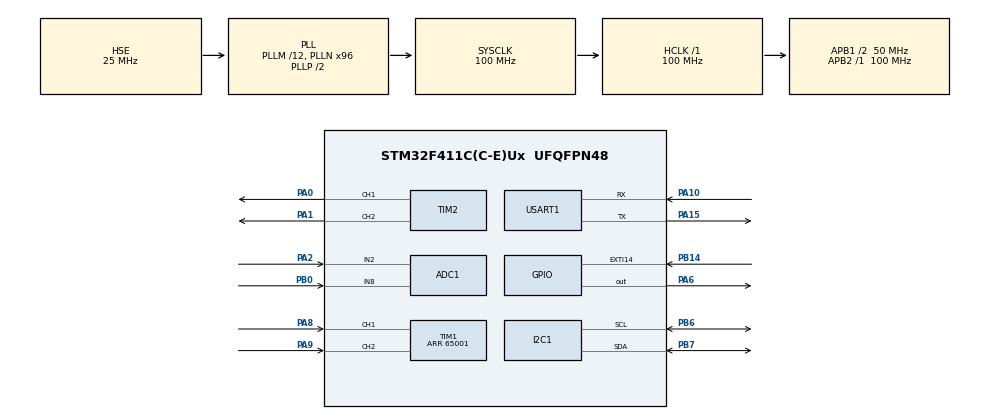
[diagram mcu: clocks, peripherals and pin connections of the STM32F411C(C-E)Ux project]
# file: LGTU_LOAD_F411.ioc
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ADC1.Channel-0\#ChannelRegularConversion=ADC_CHANNEL_2
ADC1.NbrOfConversionFlag=1
ADC1.Rank-0\#ChannelRegularConversion=1
ADC1.SamplingTime-0\#ChannelRegularConversion=ADC_SAMPLETIME_3CYCLES
ADC1.master=1
Mcu.Family=STM32F4
Mcu.Name=STM32F411C(C-E)Ux
Mcu.Package=UFQFPN48
NVIC.EXTI15_10_IRQn=true\:0\:0\:false\:false\:true\:true\:true\:true
NVIC.PriorityGroup=NVIC_PRIORITYGROUP_4
NVIC.TIM1_CC_IRQn=true\:0\:0\:false\:false\:true\:true\:true\:true
PA0-WKUP.Signal=S_TIM2_CH1_ETR
PA1.Signal=S_TIM2_CH2
PA10.Mode=Asynchronous
PA10.Signal=USART1_RX
PA13.Mode=Serial_Wire
PA13.Signal=SYS_JTMS-SWDIO
PA14.Mode=Serial_Wire
PA14.Signal=SYS_JTCK-SWCLK
PA15.Mode=Asynchronous
PA15.Signal=USART1_TX
PA2.Signal=ADCx_IN2
PA6.Signal=GPIO_Output
PA8.GPIO_PuPd=GPIO_PULLDOWN
PA8.Signal=S_TIM1_CH1
PA9.GPIO_PuPd=GPIO_PULLDOWN
PA9.Signal=S_TIM1_CH2
PB0.Signal=ADCx_IN8
PB14.GPIO_ModeDefaultEXTI=GPIO_MODE_IT_FALLING
PB14.GPIO_PuPd=GPIO_PULLUP
PB14.Signal=GPXTI14
PB6.Mode=I2C
PB6.Signal=I2C1_SCL
PB7.Mode=I2C
PB7.Signal=I2C1_SDA
PH0\ -\ OSC_IN.Mode=HSE-External-Oscillator
PH0\ -\ OSC_IN.Signal=RCC_OSC_IN
PH1\ -\ OSC_OUT.Mode=HSE-External-Oscillator
PH1\ -\ OSC_OUT.Signal=RCC_OSC_OUT
ProjectManager.HeapSize=0x200
ProjectManager.StackSize=0x400
ProjectManager.TargetToolchain=STM32CubeIDE
RCC.48MHZClocksFreq_Value=50000000
RCC.AHBFreq_Value=100000000
RCC.APB1CLKDivider=RCC_HCLK_DIV2
RCC.APB1Freq_Value=50000000
RCC.APB1TimFreq_Value=100000000
RCC.APB2Freq_Value=100000000
RCC.APB2TimFreq_Value=100000000
RCC.CortexFreq_Value=100000000
RCC.HCLKFreq_Value=100000000
RCC.HSE_VALUE=25000000
RCC.HSI_VALUE=16000000
RCC.LSE_VALUE=32768
RCC.PLLM=12
RCC.PLLN=96
RCC.PLLSourceVirtual=RCC_PLLSOURCE_HSE
RCC.SYSCLKFreq_VALUE=100000000
RCC.SYSCLKSource=RCC_SYSCLKSOURCE_PLLCLK
RCC.VCOOutputFreq_Value=200000000
SH.ADCx_IN2.0=ADC1_IN2,IN2
SH.ADCx_IN8.0=ADC1_IN8,IN8
SH.S_TIM1_CH1.0=TIM1_CH1,Encoder_Interface
SH.S_TIM1_CH2.0=TIM1_CH2,Encoder_Interface
SH.S_TIM2_CH1_ETR.0=TIM2_CH1,PWM Generation1 CH1
SH.S_TIM2_CH2.0=TIM2_CH2,PWM Generation2 CH2
STMicroelectronics.X-CUBE-ALGOBUILD.1.4.0.LibraryCcDSPOoLibraryJjDSPOoLibrary=true
TIM1.IC1Filter=15
TIM1.IC2Filter=15
TIM1.Period=65001
TIM2.Channel-PWM\ Generation1\ CH1=TIM_CHANNEL_1
TIM2.Channel-PWM\ Generation2\ CH2=TIM_CHANNEL_2
USART1.VirtualMode=VM_ASYNC
VP_STMicroelectronics.X-CUBE-ALGOBUILD_VS_DSPOoLibraryJjLibrary_1.4.0_1.4.0.Mode=DSPOoLibraryJjLibrary
board=custom

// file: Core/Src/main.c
/* USER CODE BEGIN Header */
/**
 ******************************************************************************
 * @file           : main.c
 * @brief          : Main program body
 ******************************************************************************
 * @attention
 *
 * Copyright (c) 2025 STMicroelectronics.
 * All rights reserved.
 *
 * This software is licensed under terms that can be found in the LICENSE file
 * in the root directory of this software component.
 * If no LICENSE file comes with this software, it is provided AS-IS.
 *
 ******************************************************************************
 */
/* USER CODE END Header */
#include "main.h"
#include "adc.h"
#include "i2c.h"
#include "tim.h"
#include "usart.h"
#include "gpio.h"

/* USER CODE BEGIN Includes */
#include "arm_math.h"
#include "ssd1306.h"
#include "encoder.h"
/* USER CODE END Includes */

/* USER CODE BEGIN PV */
char string[4] = { 0, };
/* USER CODE END PV */

void SystemClock_Config(void);

int main(void) {

	/* MCU Configuration--------------------------------------------------------*/

	/* Reset of all peripherals, Initializes the Flash interface and the Systick. */
	HAL_Init();

	/* Configure the system clock */
	SystemClock_Config();

	/* Initialize all configured peripherals */
	MX_GPIO_Init();
	MX_I2C1_Init();
	MX_ADC1_Init();
	MX_TIM1_Init();
	MX_TIM2_Init();
	MX_USART1_UART_Init();
	/* USER CODE BEGIN 2 */
	HAL_TIM_Encoder_Start_IT(&htim1, TIM_CHANNEL_ALL); // Запускаем энкодер в режиме прерывания и запускаем каналы таймера 1
	//запуск экрана:
	ssd1306_Init();
	start_screen(mode_item); // рисуем стартовый экран
	/* USER CODE END 2 */

	/* Infinite loop */
	/* USER CODE BEGIN WHILE */
	while (1) {

		if (button_flag) {
			Button_click_process(); // Если поднялся флажок прерывания кнопки энкодера, выполняем функцию
		}
		change_screen(long_press); // Опрашиваем смену экрана по длительному нажатию кнопки энкодера
		draw_blinking_underline(menu_item, mode_item); // Отрисовка подчеркиваний и моргание при выборе пункта
		/* USER CODE END WHILE */

	}
}

void SystemClock_Config(void) {
	RCC_OscInitTypeDef RCC_OscInitStruct = { 0 };
	RCC_ClkInitTypeDef RCC_ClkInitStruct = { 0 };

	/** Configure the main internal regulator output voltage
	 */
	__HAL_RCC_PWR_CLK_ENABLE();
	__HAL_PWR_VOLTAGESCALING_CONFIG(PWR_REGULATOR_VOLTAGE_SCALE1);

	/** Initializes the RCC Oscillators according to the specified parameters
	 * in the RCC_OscInitTypeDef structure.
	 */
	RCC_OscInitStruct.OscillatorType = RCC_OSCILLATORTYPE_HSE;
	RCC_OscInitStruct.HSEState = RCC_HSE_ON;
	RCC_OscInitStruct.PLL.PLLState = RCC_PLL_ON;
	RCC_OscInitStruct.PLL.PLLSource = RCC_PLLSOURCE_HSE;
	RCC_OscInitStruct.PLL.PLLM = 12;
	RCC_OscInitStruct.PLL.PLLN = 96;
	RCC_OscInitStruct.PLL.PLLP = RCC_PLLP_DIV2;
	RCC_OscInitStruct.PLL.PLLQ = 4;
	if (HAL_RCC_OscConfig(&RCC_OscInitStruct) != HAL_OK) {
		Error_Handler();
	}

	/** Initializes the CPU, AHB and APB buses clocks
	 */
	RCC_ClkInitStruct.ClockType = RCC_CLOCKTYPE_HCLK | RCC_CLOCKTYPE_SYSCLK
			| RCC_CLOCKTYPE_PCLK1 | RCC_CLOCKTYPE_PCLK2;
	RCC_ClkInitStruct.SYSCLKSource = RCC_SYSCLKSOURCE_PLLCLK;
	RCC_ClkInitStruct.AHBCLKDivider = RCC_SYSCLK_DIV1;
	RCC_ClkInitStruct.APB1CLKDivider = RCC_HCLK_DIV2;
	RCC_ClkInitStruct.APB2CLKDivider = RCC_HCLK_DIV1;

	if (HAL_RCC_ClockConfig(&RCC_ClkInitStruct, FLASH_LATENCY_3) != HAL_OK) {
		Error_Handler();
	}
}

/* USER CODE BEGIN 4 */
// Функция обработки прерывания от кнопки энкодера
void HAL_GPIO_EXTI_Callback(uint16_t GPIO_Pin) {
	if (GPIO_Pin == GPIO_PIN_14) { // Проверяем что прерывание от GPIO_PIN_14
		button_flag = 1; // Устанавливаем флажок, что пришло прерывание от кнопки энкодера
	}
}

// Функция для обработки прерывания энкодера
void HAL_TIM_IC_CaptureCallback(TIM_HandleTypeDef *htim) {
	static uint16_t prev_counter_encoder = 0; // Переменная для хранения предыдущего значения counter_encoder
	static uint8_t prev_type_item = 1U; // Статическая переменная для отслеживания изменения type_item
	static uint8_t prev_mode_item = 1U; // Статическая переменная для отслеживания изменения mode_item

	if (htim->Instance == TIM1) { // Проверяем, что прерывание пришло от таймера 1
		int16_t encoder_diff = 0; // Переменная которая хранит разницу текущего и предыдущего значения

		if (long_press == 0) {
			encoder_diff = TIM1->CNT - prev_counter_encoder; // Вычисляем разницу между текущим и предыдущим значением счетчика
			counter_encoder = TIM1->CNT; // текущее значение счетчика

		}

		if (short_press == 0 && long_press == 0) {
			switch (mode_item) {
			case 1: // Режим "Нагрузки"
				menu_item = (counter_encoder >> 1) % 3U + 1U; // Вычисляем выбранный пункт меню (1-3) в режиме нагрузки
				break;
			case 2: // Режим "Зарядка"
				menu_item = (counter_encoder >> 1) % 4U + 1U; // Вычисляем выбранный пункт меню (1-4) в режиме разрядки
				break;
			}
		}

		if (short_press == 1 && long_press == 0 && mode_item == 2) { // Смена режима работы и типа аккумулятора в режиме разрядки
			switch (menu_item) {
			case 1:
				mode_item = (counter_encoder >> 1) % 2U + 1U; // Вычисляем выбранный режим работы (1-2)
				start_screen(mode_item);
				upd_mode(mode_item);
				break;
			case 2:
				type_item = (counter_encoder >> 1) % 4U + 1U; // Вычисляем тип аккумулятора (1-4)
				upd_type(type_item);
				break;
			}

			if (mode_item != prev_mode_item) { // Обнулениие значений тока и напряжения при изменении режима работы
				type_item = 1;
				voltage_value = 0.0f;
				current_value = 0.0f;
				power_value = 0.0f;
				start_screen(mode_item);
				prev_mode_item = mode_item; // Сохраняем текущее значение для следующего вызова
			}

			if (type_item != prev_type_item) { // Сбрасываем значения напряжения и тока при изменении типа аккумулятора
				switch (type_item) {
				case 1: // Ручная настройка аккумулятора
					voltage_value = 0.0f; // Минимальное напряжение для ручной настройки
					current_value = 0.0f; // Минимальный ток
					break;
				case 2: // Аккумулятор Li-Ion
					voltage_value = 3.5f; // Минимальное напряжение для Li-Ion
					current_value = 1.0f; // Максимальный ток
					break;
				case 3: // Аккумулятор PbCar
					voltage_value = 12.0f; // Минимальное напряжение для PbCar
					current_value = 3.0f; // Максимальный ток
					break;
				case 4: // Аккумулятор Li-Po
					voltage_value = 3.7f; // Минимальное напряжение для Li-Po
					current_value = 1.0f; // Максимальный ток
					break;
				}
				prev_type_item = type_item; // Сохраняем текущее значение для следующего вызова
				upd_chisl(voltage_value, 5); // Обновляем экран с новым значением напряжения
				upd_chisl(current_value, 4); // Обновляем экран с новым значением тока
			}

			if (type_item == 1) { // Ручная настройка аккумулятора
				switch (menu_item) {
				case 3:
					voltage_value += 0.05f * encoder_diff; // Диапазон напряжения
					voltage_value = (voltage_value > 15.0f) ? 15.0f : voltage_value;
					voltage_value = (voltage_value < 0.0f) ? 0 : voltage_value;
					upd_chisl(voltage_value, 5);
					break;
				case 4:
					current_value += 0.025f * encoder_diff; // Диапазон тока
					current_value = (current_value > 5.0f) ? 5.f : current_value;
					current_value = (current_value < 0.0f) ? 0 : current_value;
					upd_chisl(current_value, 4);
					break;
				}
			}

			if (type_item == 2) { // Аккумулятор Li-Ion
				switch (menu_item) {
				case 3:
					voltage_value += 0.05f * encoder_diff; // Диапазон напряжения
					voltage_value = (voltage_value > 4.2f) ? 4.2f : voltage_value;
					voltage_value = (voltage_value < 3.5f) ? 3.5f : voltage_value;
					upd_chisl(voltage_value, 5);
					break;
				case 4:
					current_value += 0.025f * (encoder_diff >> 1); // Диапазон тока
					current_value = (current_value > 1.0f) ? 1.f : current_value;
					current_value = (current_value < 0.0f) ? 0 : current_value;
					upd_chisl(current_value, 4);
					break;
				}
			}

			if (type_item == 3) { // Аккумулятор PbCar
				switch (menu_item) {
				case 3:
					voltage_value += 0.05f * encoder_diff; // Диапазон напряжения
					voltage_value = (voltage_value > 14.5f) ? 14.5f : voltage_value;
					voltage_value = (voltage_value < 12.0f) ? 12.0f : voltage_value;
					upd_chisl(voltage_value, 5);
					break;
				case 4:
					current_value += 0.025f * encoder_diff; // Диапазон тока
					current_value = (current_value > 3.0f) ? 3.f : current_value;
					current_value = (current_value < 0.0f) ? 0 : current_value;
					upd_chisl(current_value, 4);
					break;
				}
			}

			if (type_item == 4) { // Аккумулятор Li-Po
				switch (menu_item) {
				case 3:
					voltage_value += 0.05f * encoder_diff; // Диапазон напряжения
					voltage_value = (voltage_value > 4.2f) ? 4.2f : voltage_value;
					voltage_value = (voltage_value < 3.7f) ? 3.7f : voltage_value;
					upd_chisl(voltage_value, 5);
					break;
				case 4:
					current_value += 0.025f * encoder_diff; // Диапазон тока
					current_value = (current_value > 1.0f) ? 1.f : current_value;
					current_value = (current_value < 0.0f) ? 0 : current_value;
					upd_chisl(current_value, 4);
					break;
				}
			}
		}

		if (short_press == 1 && long_press == 0 && mode_item == 1) { // Смена режима работы и в режиме нагрузки
			switch (menu_item) {
			case 1:
				mode_item = (counter_encoder >> 1) % 2U + 1U; // Вычисляем выбранный режим работы (1-2)
				start_screen(mode_item);
				upd_mode(mode_item);
				break;
			case 2:
				voltage_value += 0.05f * encoder_diff; // Диапазон изменения напряжения в режиме нагрузки
				voltage_value = (voltage_value > 15.0f) ? 15.f : voltage_value;
				voltage_value = (voltage_value < 0.0f) ? 0 : voltage_value;
				upd_chisl(voltage_value, 3);
				break;
			case 3:
				current_value += 0.025f * encoder_diff; // Диапазон изменения тока в режиме нагрузки
				current_value = (current_value > 10.0f) ? 10.f : current_value;
				current_value = (current_value < 0.0f) ? 0 : current_value;
				upd_chisl(current_value, 2);
				break;
			}
		}

		if (mode_item == 1) {
			power_value = current_value * voltage_value;
			upd_chisl(power_value, 6);
		}

		prev_counter_encoder = counter_encoder; // Сохраняем текущее значение для следующего вызова
	}
}

/* USER CODE END 4 */

void Error_Handler(void) {
	__disable_irq();
	while (1) {
	}
}
